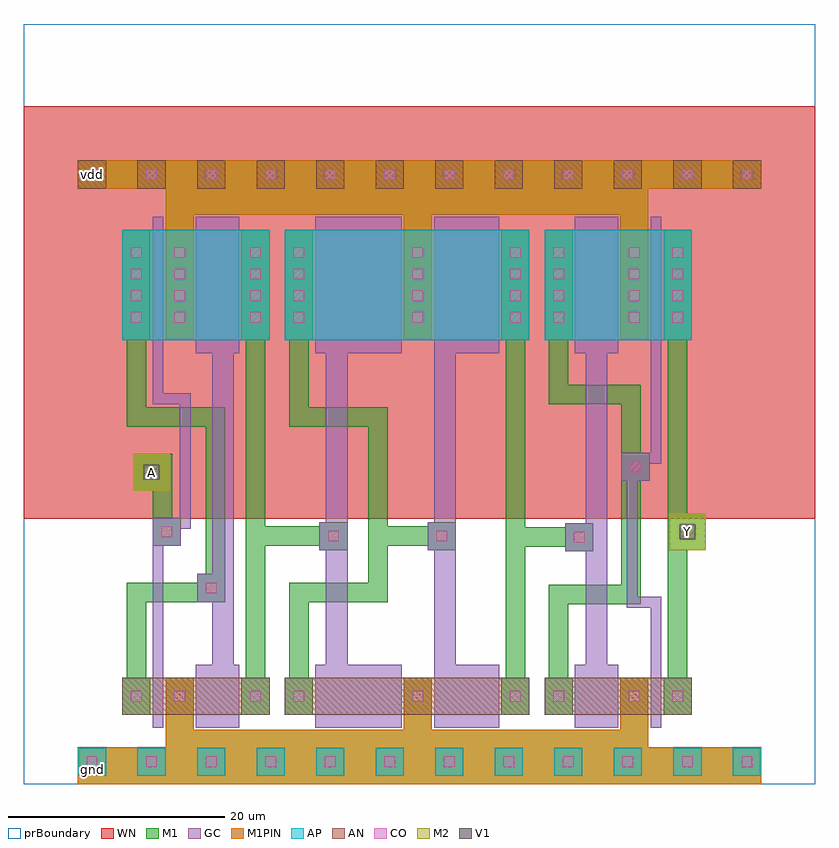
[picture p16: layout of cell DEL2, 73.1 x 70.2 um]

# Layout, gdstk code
import gdstk
lib = gdstk.Library(unit=1e-6, precision=1e-09)
def R(c, l, rs):  # rectangles x0, y0, x1, y1
    for r in rs: c.add(gdstk.rectangle(r[:2], r[2:], *l))
def A(c, l, x, y, w, h, nx, ny, dx, dy):  # array of equal rectangles
    R(c, l, [(x+i*dx, y+j*dy, x+i*dx+w, y+j*dy+h) for i in range(nx) for j in range(ny)])
def P(c, l, *ps):  # polygons
    for p in ps: c.add(gdstk.Polygon(p, *l))
AP = (3, 1)
AN = (3, 2)
GC = (8, 1)
CO = (11, 0)
M1 = (13, 0)
V1 = (19, 0)
M2 = (20, 0)
M1PIN = (48, 1)
WN = (140, 0)
prBoundary = (235, 4)

del2 = lib.new_cell('DEL2')
A(del2, AP, 5, 0.75, 2.6, 2.6, 12, 1, 5.5, 0)
R(del2, AP, [(9.1,41,22.7,51.2), (24.1,41,46.7,51.2), (48.1,41,61.7,51.2)])
A(del2, AN, 5, 55, 2.6, 2.6, 12, 1, 5.5, 0)
R(del2, AN, [(9.1,6.4,22.7,9.8), (24.1,6.4,46.7,9.8), (48.1,6.4,61.7,9.8)])
P(del2, GC, [(11.9,5.2),(11.9,24.6),(14.4,24.6),(14.4,35.1),(11.9,35.1),(11.9,52.4),(12.9,52.4),(12.9,36.1),(15.4,36.1),(15.4,23.6),(14.5,23.6),(14.5,22),(12.9,22),(12.9,5.2)],
  [(15.9,5.2),(15.9,11),(17.4,11),(17.4,16.8),(16,16.8),(16,19.4),(17.4,19.4),(17.4,39.8),(15.9,39.8),(15.9,52.4),(19.9,52.4),(19.9,39.8),(19.4,39.8),(19.4,11),(19.9,11),(19.9,5.2)],
  [(26.9,5.2),(26.9,11),(27.9,11),(27.9,21.6),(27.3,21.6),(27.3,24.2),(27.9,24.2),(27.9,39.8),(26.9,39.8),(26.9,52.4),(34.9,52.4),(34.9,39.8),(29.9,39.8),(29.9,11),(34.9,11),(34.9,5.2)],
  [(37.9,5.2),(37.9,21.6),(37.3,21.6),(37.3,24.2),(37.9,24.2),(37.9,52.4),(43.9,52.4),(43.9,39.8),(39.9,39.8),(39.9,11),(43.9,11),(43.9,5.2)],
  [(50.9,5.2),(50.9,11),(51.9,11),(51.9,21.5),(50,21.5),(50,24.1),(51.9,24.1),(51.9,39.8),(50.9,39.8),(50.9,52.4),(54.9,52.4),(54.9,39.8),(53.9,39.8),(53.9,11),(54.9,11),(54.9,5.2)],
  [(57.9,5.2),(57.9,16.3),(55.7,16.3),(55.7,28),(55.2,28),(55.2,30.6),(57.9,30.6),(57.9,52.4),(58.9,52.4),(58.9,29.6),(57.8,29.6),(57.8,28),(56.7,28),(56.7,17.3),(58.9,17.3),(58.9,5.2)])
A(del2, CO, 5.8, 1.55, 1, 1, 12, 2, 5.5, 54.25)
A(del2, CO, 9.9, 42.6, 1, 1, 1, 4, 0, 2)
A(del2, CO, 20.9, 42.6, 1, 1, 1, 4, 0, 2)
A(del2, CO, 24.9, 42.6, 1, 1, 1, 4, 0, 2)
A(del2, CO, 44.9, 42.6, 1, 1, 1, 4, 0, 2)
A(del2, CO, 48.9, 42.6, 1, 1, 1, 4, 0, 2)
A(del2, CO, 59.9, 42.6, 1, 1, 1, 4, 0, 2)
R(del2, CO, [(9.9,7.6,10.9,8.6), (13.9,7.6,14.9,8.6), (13.9,7.6,14.9,8.6), (20.9,7.6,21.9,8.6), (24.9,7.6,25.9,8.6), (35.9,7.6,36.9,8.6), (35.9,7.6,36.9,8.6), (44.9,7.6,45.9,8.6), (48.9,7.6,49.9,8.6), (55.9,7.6,56.9,8.6), (55.9,7.6,56.9,8.6), (59.9,7.6,60.9,8.6), (16.8,17.6,17.8,18.6), (50.8,22.3,51.8,23.3), (28.1,22.4,29.1,23.4), (38.1,22.4,39.1,23.4), (12.7,22.8,13.7,23.8), (56,28.8,57,29.8), (13.9,42.6,14.9,43.6), (13.9,42.6,14.9,43.6), (35.9,42.6,36.9,43.6), (35.9,42.6,36.9,43.6), (55.9,42.6,56.9,43.6), (55.9,42.6,56.9,43.6), (13.9,44.6,14.9,45.6), (13.9,44.6,14.9,45.6), (35.9,44.6,36.9,45.6), (35.9,44.6,36.9,45.6), (55.9,44.6,56.9,45.6), (55.9,44.6,56.9,45.6), (13.9,46.6,14.9,47.6), (13.9,46.6,14.9,47.6), (35.9,46.6,36.9,47.6), (35.9,46.6,36.9,47.6), (55.9,46.6,56.9,47.6), (55.9,46.6,56.9,47.6), (13.9,48.6,14.9,49.6), (13.9,48.6,14.9,49.6), (35.9,48.6,36.9,49.6), (35.9,48.6,36.9,49.6), (55.9,48.6,56.9,49.6), (55.9,48.6,56.9,49.6)])
R(del2, M1, [(5,2.6,13.1,3.4), (57.7,2.6,68.1,3.4)])
P(del2, M1, [(5,0),(5,2.6),(13.1,2.6),(13.1,9.8),(15.7,9.8),(15.7,5),(35.1,5),(35.1,9.8),(37.7,9.8),(37.7,5),(55.1,5),(55.1,9.8),(57.7,9.8),(57.7,2.6),(68.1,2.6),(68.1,0)],
  [(11.9,22),(11.9,27.1),(10.1,27.1),(10.1,30.5),(13.7,30.5),(13.7,24.6),(14.5,24.6),(14.5,22)],
  [(9.1,6.4),(9.1,9.8),(9.5,9.8),(9.5,18.6),(16,18.6),(16,19.4),(16.8,19.4),(16.8,33),(9.5,33),(9.5,41),(9.1,41),(9.1,51.2),(11.7,51.2),(11.7,41),(11.3,41),(11.3,34.8),(18.6,34.8),(18.6,16.8),(11.3,16.8),(11.3,9.8),(11.7,9.8),(11.7,6.4)],
  [(20.1,6.4),(20.1,9.8),(20.5,9.8),(20.5,41),(20.1,41),(20.1,51.2),(22.7,51.2),(22.7,41),(22.3,41),(22.3,23.8),(27.3,23.8),(27.3,24.2),(29.9,24.2),(29.9,21.6),(27.3,21.6),(27.3,22),(22.3,22),(22.3,9.8),(22.7,9.8),(22.7,6.4)],
  [(24.1,6.4),(24.1,9.8),(24.5,9.8),(24.5,18.6),(31.8,18.6),(31.8,33),(24.5,33),(24.5,41),(24.1,41),(24.1,51.2),(26.7,51.2),(26.7,41),(26.3,41),(26.3,34.8),(33.6,34.8),(33.6,23.8),(37.3,23.8),(37.3,24.2),(39.9,24.2),(39.9,21.6),(37.3,21.6),(37.3,22),(33.6,22),(33.6,16.8),(26.3,16.8),(26.3,9.8),(26.7,9.8),(26.7,6.4)],
  [(44.1,6.4),(44.1,9.8),(44.5,9.8),(44.5,41),(44.1,41),(44.1,51.2),(46.7,51.2),(46.7,41),(46.3,41),(46.3,23.7),(50,23.7),(50,24.1),(52.6,24.1),(52.6,21.5),(50,21.5),(50,21.9),(46.3,21.9),(46.3,9.8),(46.7,9.8),(46.7,6.4)],
  [(48.1,6.4),(48.1,9.8),(48.5,9.8),(48.5,18.4),(55.2,18.4),(55.2,35.1),(48.5,35.1),(48.5,41),(48.1,41),(48.1,51.2),(50.7,51.2),(50.7,41),(50.3,41),(50.3,36.9),(57,36.9),(57,30.6),(57.8,30.6),(57.8,28),(57,28),(57,16.6),(50.3,16.6),(50.3,9.8),(50.7,9.8),(50.7,6.4)],
  [(59.1,6.4),(59.1,9.8),(59.5,9.8),(59.5,41),(59.1,41),(59.1,51.2),(61.7,51.2),(61.7,41),(61.3,41),(61.3,25),(63,25),(63,21.6),(61.3,21.6),(61.3,9.8),(61.7,9.8),(61.7,6.4)],
  [(13.1,41),(13.1,55),(5,55),(5,57.6),(68.1,57.6),(68.1,55),(57.7,55),(57.7,41),(55.1,41),(55.1,52.6),(37.7,52.6),(37.7,41),(35.1,41),(35.1,52.6),(15.7,52.6),(15.7,41)])
R(del2, V1, [(60.6,22.6,62,24), (11.1,28.1,12.5,29.5)])
R(del2, M2, [(59.6,21.6,63,25), (10.1,27.1,13.5,30.5)])
R(del2, M1PIN, [(5,0,68.1,3.4), (13.1,3.4,57.7,5), (13.1,5,15.7,9.8), (35.1,5,37.7,9.8), (55.1,5,57.7,9.8), (13.1,41,15.7,52.6), (35.1,41,37.7,52.6), (55.1,41,57.7,52.6), (13.1,52.6,57.7,55), (5,55,68.1,57.6)])
R(del2, WN, [(0,24.5,73.1,62.6)])
R(del2, prBoundary, [(0,0,73.1,70.2)])
del2.add(gdstk.Label('A', (11.8,28.8), layer=49, texttype=0))
del2.add(gdstk.Label('Y', (61.3,23.3), layer=49, texttype=0))
del2.add(gdstk.Label('vdd', (6.3,56.3), layer=48, texttype=0))
del2.add(gdstk.Label('vdd', (6.3,56.3), layer=48, texttype=0))
del2.add(gdstk.Label('Y', (61.3,23.3), layer=48, texttype=0))
del2.add(gdstk.Label('A', (11.8,28.8), layer=48, texttype=0))
del2.add(gdstk.Label('A', (11.8,28.8), layer=48, texttype=0))
del2.add(gdstk.Label('gnd', (6.3,1.3), layer=48, texttype=0))

lib.write_gds('DEL2.gds')
